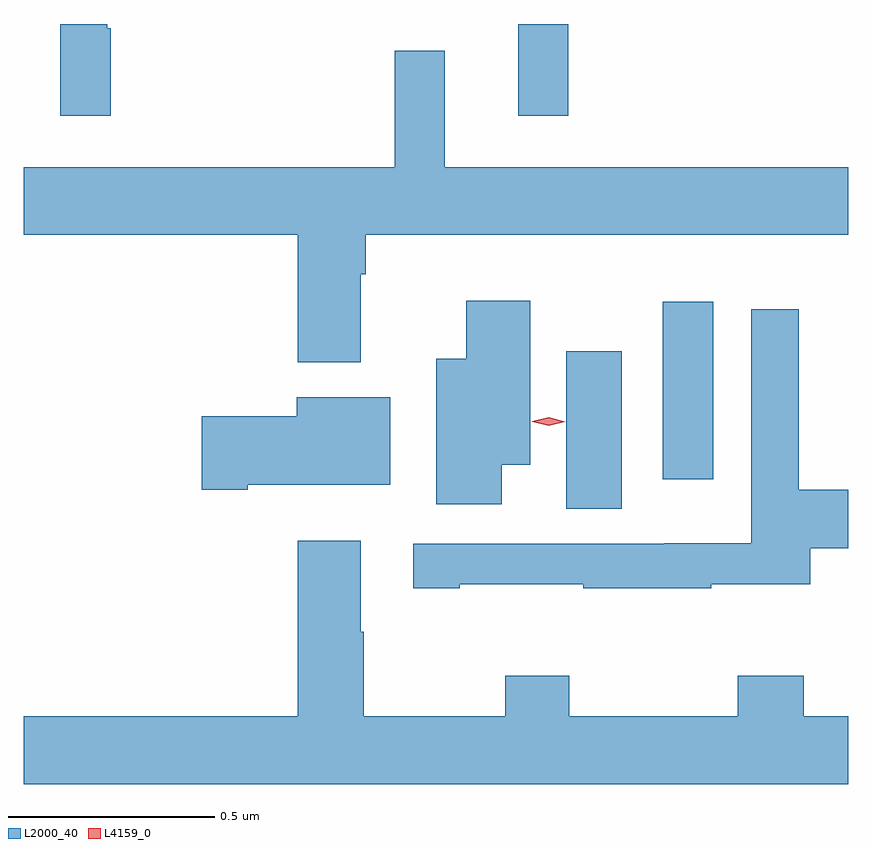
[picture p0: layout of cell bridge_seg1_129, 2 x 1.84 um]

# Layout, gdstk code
import gdstk
lib = gdstk.Library(unit=1e-6, precision=1e-09)
def R(c, l, rs):  # rectangles x0, y0, x1, y1
    for r in rs: c.add(gdstk.rectangle(r[:2], r[2:], *l))
def P(c, l, *ps):  # polygons
    for p in ps: c.add(gdstk.Polygon(p, *l))
L2000_40 = (2000, 40)
L4159_0 = (4159, 0)

bridge_seg1_129 = lib.new_cell('bridge_seg1_129')
R(bridge_seg1_129, L2000_40, [(303.656,531.088,303.79,531.469), (303.89,531.159,304.012,531.589), (303.539,532.041,303.661,532.263)])
P(bridge_seg1_129, L2000_40, [(302.551,532.253),(302.543,532.253),(302.543,532.263),(302.429,532.263),(302.429,532.041),(302.551,532.041)],
  [(303.157,531.656),(303.17,531.656),(303.17,531.752),(304.34,531.752),(304.34,531.916),(303.361,531.916),(303.361,532.198),(303.24,532.198),(303.24,531.916),(302.34,531.916),(302.34,531.752),(303.005,531.752),(303.005,531.443),(303.157,531.443)],
  [(303.499,531.194),(303.568,531.194),(303.568,531.592),(303.413,531.592),(303.413,531.451),(303.341,531.451),(303.341,531.099),(303.499,531.099)],
  [(303.397,530.905),(303.697,530.905),(303.697,530.895),(304.007,530.895),(304.007,530.905),(304.247,530.905),(304.247,530.992),(304.34,530.992),(304.34,531.134),(304.22,531.134),(304.22,531.571),(304.104,531.571),(304.104,531.004),(303.894,531.004),(303.894,531.003),(303.285,531.003),(303.285,530.895),(303.397,530.895)],
  [(302.884,531.146),(303.229,531.146),(303.229,531.358),(303.002,531.358),(303.002,531.312),(302.772,531.312),(302.772,531.134),(302.884,531.134)],
  [(304.34,530.584),(304.232,530.584),(304.232,530.683),(304.072,530.683),(304.072,530.584),(303.663,530.584),(303.663,530.683),(303.508,530.683),(303.508,530.584),(303.165,530.584),(303.165,530.789),(303.157,530.789),(303.157,531.01),(303.005,531.01),(303.005,530.584),(302.34,530.584),(302.34,530.42),(304.34,530.42)])
P(bridge_seg1_129, L4159_0, [(303.614,531.289),(303.574,531.299),(303.573,531.3),(303.574,531.3),(303.614,531.309),(303.654,531.299),(303.654,531.299),(303.654,531.299)])

lib.write_gds('bridge_seg1_129.gds')
